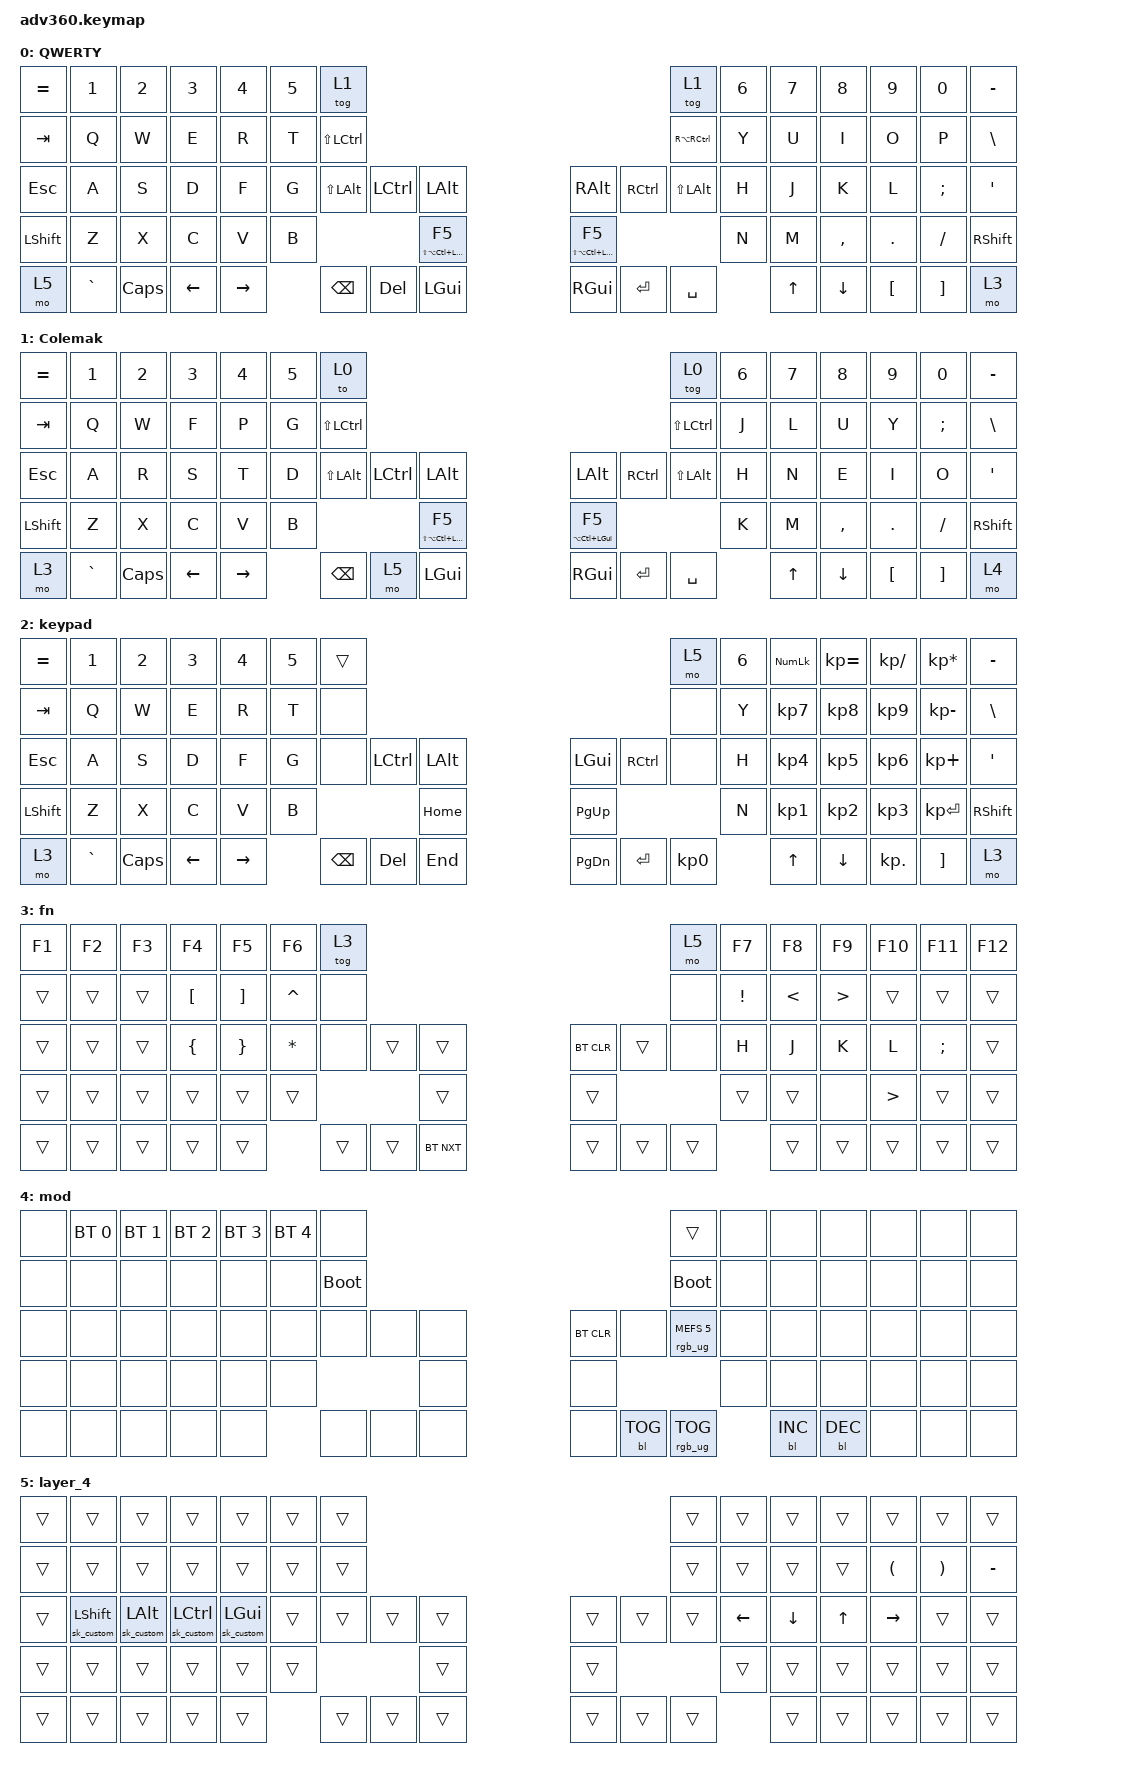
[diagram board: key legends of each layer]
#include <behaviors.dtsi>
#include <dt-bindings/zmk/backlight.h>
#include <dt-bindings/zmk/bt.h>
#include <dt-bindings/zmk/keys.h>
#include <dt-bindings/zmk/rgb.h>

/ {
    behaviors {
        #include "macros.dtsi"
      #include "version.dtsi"
      #ifndef VERSION_MACRO


        #endif

        hm: homerow_mods {
            compatible = "zmk,behavior-hold-tap";
            label = "HOMEROW_MODS";
            #binding-cells = <2>;
            tapping-term-ms = <200>;
            quick_tap_ms = <175>;
            flavor = "tap-preferred";
            bindings = <&kp>, <&kp>;
        };

        sk_custom: sk_custom {
            compatible = "zmk,behavior-sticky-key";
            label = "SK_CUSTOM";
            bindings = <&kp>;
            #binding-cells = <1>;
            release-after-ms = <10000>;
        };
    };

    keymap {
        compatible = "zmk,keymap";

        QWERTY {
            bindings = <
&kp EQUAL  &kp N1     &kp N2    &kp N3    &kp N4     &kp N5  &tog 1                                                                                     &tog 1         &kp N6  &kp N7  &kp N8     &kp N9    &kp N0    &kp MINUS
&kp TAB    &kp Q      &kp W     &kp E     &kp R      &kp T   &kp LS(LCTRL)                                                                              &kp RA(RCTRL)  &kp Y   &kp U   &kp I      &kp O     &kp P     &kp BSLH
&kp ESC    &kp A      &kp S     &kp D     &kp F      &kp G   &kp LS(LALT)   &kp LCTRL  &kp LALT                     &kp RALT                 &kp RCTRL  &kp LS(LALT)   &kp H   &kp J   &kp K      &kp L     &kp SEMI  &kp SQT
&kp LSHFT  &kp Z      &kp X     &kp C     &kp V      &kp B                             &mt LS(LA(LC(LGUI))) F5      &mt LS(LA(LC(LGUI))) F5                            &kp N   &kp M   &kp COMMA  &kp DOT   &kp FSLH  &kp RSHFT
&mo 5      &kp GRAVE  &kp CAPS  &kp LEFT  &kp RIGHT          &kp BSPC       &kp DEL    &kp LGUI                     &kp RGUI                 &kp ENTER  &kp SPACE              &kp UP  &kp DOWN   &kp LBKT  &kp RBKT  &mo 3
            >;
        };

        Colemak {
            bindings = <
&kp EQUAL  &kp N1     &kp N2    &kp N3          &kp N4           &kp N5  &to 0                                                                                         &tog 0            &kp N6  &kp N7        &kp N8          &kp N9    &kp N0    &kp MINUS
&kp TAB    &kp Q      &kp W     &kp F           &kp P            &kp G   &kp LS(LCTRL)                                                                                 &kp LS(LCTRL)     &kp J   &kp L         &kp U           &kp Y     &kp SEMI  &kp BSLH
&kp ESC    &kp A      &kp R     &kp S           &kp T            &kp D   &kp LS(LEFT_ALT)  &kp LCTRL  &kp LEFT_ALT                     &kp LEFT_ALT         &kp RCTRL  &kp LS(LEFT_ALT)  &kp H   &kp N         &kp E           &kp I     &kp O     &kp APOS
&kp LSHFT  &kp Z      &kp X     &kp C           &kp V            &kp B                                &mt LS(LA(LC(LEFT_GUI))) F5      &mt LA(LC(LGUI)) F5                               &kp K   &kp M         &kp COMMA       &kp DOT   &kp FSLH  &kp RSHFT
&mo 3      &kp GRAVE  &kp CAPS  &kp LEFT_ARROW  &kp RIGHT_ARROW          &kp BACKSPACE     &mo 5      &kp LEFT_GUI                     &kp RIGHT_GUI        &kp ENTER  &kp SPACE                 &kp UP_ARROW  &kp DOWN_ARROW  &kp LBKT  &kp RBKT  &mo 4
            >;
        };

        keypad {
            bindings = <
&kp EQUAL  &kp N1     &kp N2    &kp N3    &kp N4     &kp N5  &trans                                                   &mo 5      &kp N6  &kp KP_NUM  &kp KP_EQUAL  &kp KP_DIVIDE  &kp KP_MULTIPLY  &kp MINUS
&kp TAB    &kp Q      &kp W     &kp E     &kp R      &kp T   &none                                                    &none      &kp Y   &kp KP_N7   &kp KP_N8     &kp KP_N9      &kp KP_MINUS     &kp BSLH
&kp ESC    &kp A      &kp S     &kp D     &kp F      &kp G   &none     &kp LCTRL  &kp LALT      &kp LGUI   &kp RCTRL  &none      &kp H   &kp KP_N4   &kp KP_N5     &kp KP_N6      &kp KP_PLUS      &kp SQT
&kp LSHFT  &kp Z      &kp X     &kp C     &kp V      &kp B                        &kp HOME      &kp PG_UP                        &kp N   &kp KP_N1   &kp KP_N2     &kp KP_N3      &kp KP_ENTER     &kp RSHFT
&mo 3      &kp GRAVE  &kp CAPS  &kp LEFT  &kp RIGHT          &kp BSPC  &kp DEL    &kp END       &kp PG_DN  &kp ENTER  &kp KP_N0          &kp UP      &kp DOWN      &kp KP_DOT     &kp RBKT         &mo 3
            >;
        };

        fn {
            bindings = <
&kp F1  &kp F2  &kp F3  &kp F4            &kp F5             &kp F6        &tog 3                                              &mo 5   &kp F7           &kp F8         &kp F9            &kp F10           &kp F11        &kp F12
&trans  &trans  &trans  &kp LEFT_BRACKET  &kp RIGHT_BRACKET  &kp CARET     &none                                               &none   &kp EXCLAMATION  &kp LESS_THAN  &kp GREATER_THAN  &trans            &trans         &trans
&trans  &trans  &trans  &kp LEFT_BRACE    &kp RIGHT_BRACE    &kp ASTERISK  &none   &trans  &trans          &bt BT_CLR  &trans  &none   &kp H            &kp J          &kp K             &kp L             &kp SEMICOLON  &trans
&trans  &trans  &trans  &trans            &trans             &trans                        &trans          &trans                      &trans           &trans         &none             &kp GREATER_THAN  &trans         &trans
&trans  &trans  &trans  &trans            &trans                           &trans  &trans  &bt BT_NXT      &trans      &trans  &trans                   &trans         &trans            &trans            &trans         &trans
            >;
        };

        mod {
            bindings = <
&none  &bt BT_SEL 0  &bt BT_SEL 1  &bt BT_SEL 2  &bt BT_SEL 3  &bt BT_SEL 4  &none                                                  &trans                  &none  &none       &none       &none  &none  &none
&none  &none         &none         &none         &none         &none         &bootloader                                            &bootloader             &none  &none       &none       &none  &none  &none
&none  &none         &none         &none         &none         &none         &none        &none  &none      &bt BT_CLR  &none       &rgb_ug RGB_MEFS_CMD 5  &none  &none       &none       &none  &none  &none
&none  &none         &none         &none         &none         &none                             &none      &none                                           &none  &none       &none       &none  &none  &none
&none  &none         &none         &none         &none                       &none        &none  &none      &none       &bl BL_TOG  &rgb_ug RGB_TOG                &bl BL_INC  &bl BL_DEC  &none  &none  &none
            >;
        };

        layer_4 {
            bindings = <
&trans  &trans                 &trans               &trans                   &trans               &trans  &trans                                      &trans  &trans    &trans    &trans        &trans                &trans                 &trans
&trans  &trans                 &trans               &trans                   &trans               &trans  &trans                                      &trans  &trans    &trans    &trans        &kp LEFT_PARENTHESIS  &kp RIGHT_PARENTHESIS  &kp MINUS
&trans  &sk_custom LEFT_SHIFT  &sk_custom LEFT_ALT  &sk_custom LEFT_CONTROL  &sk_custom LEFT_GUI  &trans  &trans  &trans  &trans      &trans  &trans  &trans  &kp LEFT  &kp DOWN  &kp UP_ARROW  &kp RIGHT             &trans                 &trans
&trans  &trans                 &trans               &trans                   &trans               &trans                  &trans      &trans                  &trans    &trans    &trans        &trans                &trans                 &trans
&trans  &trans                 &trans               &trans                   &trans                       &trans  &trans  &trans      &trans  &trans  &trans            &trans    &trans        &trans                &trans                 &trans
            >;
        };
    };
};
